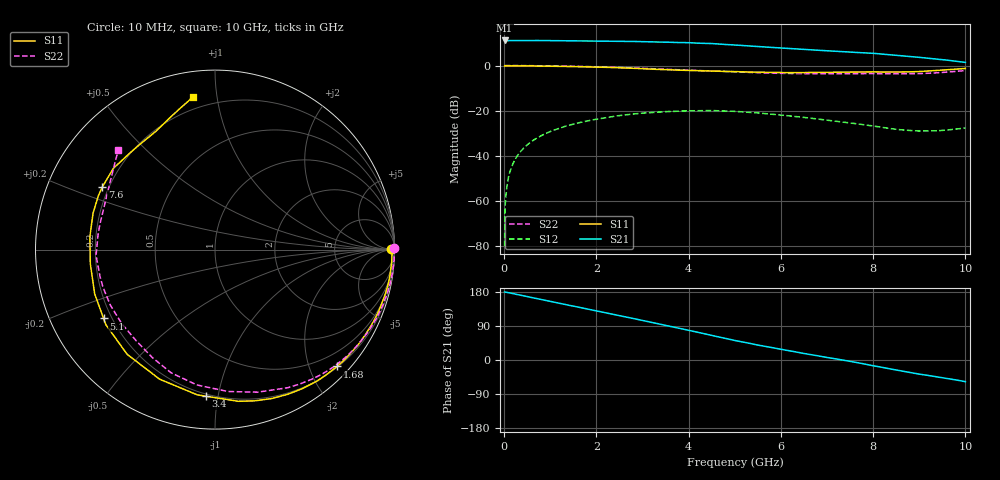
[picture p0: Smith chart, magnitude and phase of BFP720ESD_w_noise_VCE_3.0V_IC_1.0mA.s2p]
! Infineon Technologies  Discrete & RF Semiconductors
! BFP720ESD
! VCE =  3.0 V,  IC =  1.0 mA
! Common Emitter S-Parameters:  Jan 2016
# GHz  S  MA  R  50
!  f  S11  S21  S12  S22
! GHz  MAG  ANG  MAG  ANG  MAG  ANG  MAG  ANG
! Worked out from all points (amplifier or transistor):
!   233 points, 10 MHz to 10 GHz, reference 50 ohm
!   highest |S21| = 11.1 dB at 10 MHz (marker M1)
!   |S21| within 3 dB of that: start of sweep to 5.733 GHz
!   unconditionally stable (mu >= 1): 7.566 GHz to 9.834 GHz
!   at 200 MHz: K = 0.02, MSG = 27.1 dB, |S12| = -43.1 dB
!   at 1.74 GHz: K = 0.15, MSG = 17.8 dB, |S12| = -24.8 dB
!   at 10 GHz: K = 0.73, MSG = 14.5 dB, |S12| = -27.7 dB
!   lowest NFmin = 0.56 dB at 450 MHz
!   S11 on the Smith chart (normalised r, x): 10 MHz: 95, +8; 1.68 GHz: 0.22, -2.47; 3.4 GHz: 0.19, -0.92; 5.1 GHz: 0.17, -0.28; 7.6 GHz: 0.17, +0.25; 10 GHz: 0.13, +0.86
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0.01  0.9793 0.1  3.594 179.4  0.0001 149.5  1 0.4
0.015  0.9839 -0.1  3.566 179.4  0.0004 92.5  0.9987 0.2
0.02  0.9885 -0.3  3.539 179.5  0.0007 85.6  0.9975 -0.1
0.04  0.9872 -0.8  3.546 178.9  0.0014 86.8  0.9989 -0.6
0.065  0.9863 -1.5  3.555 178.3  0.0023 87.7  0.9996 -1.1
0.13  0.9866 -3.3  3.575 176.8  0.0046 86.8  0.9998 -2.5
0.26  0.9851 -6.6  3.577 173.4  0.0091 84.1  0.9988 -5.2
0.74  0.9756 -18.9  3.583 161.3  0.0258 73.8  0.9893 -14.8
1.14  0.9627 -29.4  3.555 151.3  0.0392 65.1  0.9775 -22.8
1.68  0.9409 -43.8  3.504 137.6  0.0558 53.3  0.9557 -33.9
2.6  0.8877 -69.3  3.437 114.7  0.0803 33.4  0.9013 -53.3
3  0.855 -81.3  3.392 104.3  0.0885 24.4  0.8698 -62.2
3.4  0.8183 -93.7  3.306 93.9  0.0938 15.4  0.8348 -71.0
4  0.7853 -113.1  3.211 78.4  0.0998 2.8  0.7939 -84.8
4.5  0.7615 -130.0  3.072 64.7  0.101 -8.5  0.7607 -97.7
5.1  0.7298 -148.3  2.809 49.2  0.0951 -20.9  0.7201 -111.6
6  0.6991 -173.6  2.455 28.2  0.0803 -36.1  0.6715 -130.8
6.8  0.7028 167.6  2.179 11.1  0.0654 -43.7  0.6588 -148.0
7.6  0.7183 150.8  1.967 -5.7  0.052 -46.5  0.6581 -166.5
8.4  0.7172 131.2  1.719 -24.2  0.0399 -42.3  0.6567 172.9
9  0.7366 116.6  1.519 -37.3  0.0355 -30.5  0.6639 157.9
10  0.861 98.0  1.174 -57.1  0.0413 -13.7  0.7739 134.1
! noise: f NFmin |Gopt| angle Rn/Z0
0.45  0.56  0.81  6  0.42
0.9  0.59  0.81  16  0.4
1.9  0.79  0.7  38  0.38
2.4  0.92  0.68  50  0.39
5.5  1.52  0.49  133  0.12
10  3.38  0.7  -109  0.85
